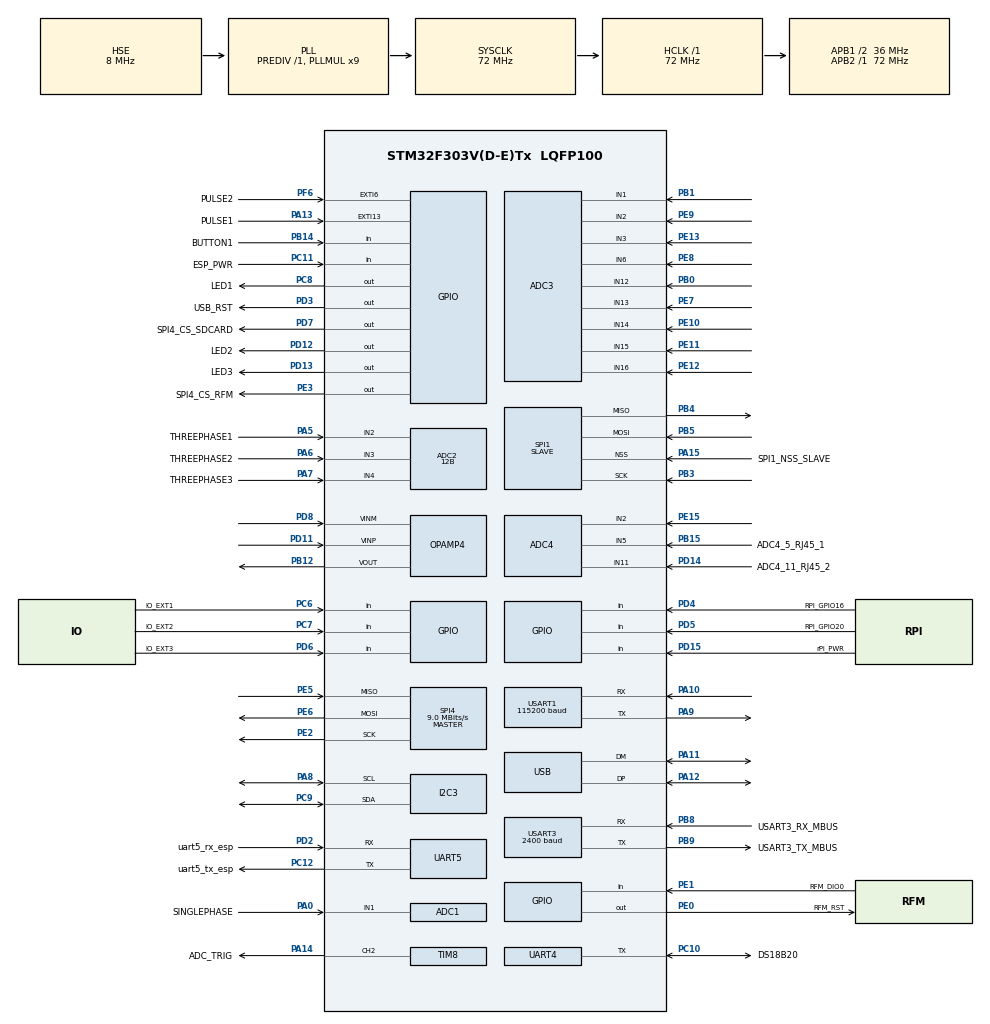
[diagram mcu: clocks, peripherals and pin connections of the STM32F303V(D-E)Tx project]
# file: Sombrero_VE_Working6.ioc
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ADC1.Channel-0\#ChannelRegularConversion=ADC_CHANNEL_1
ADC1.ClockPrescaler=ADC_CLOCK_SYNC_PCLK_DIV4
ADC1.ContinuousConvMode=ENABLE
ADC1.DMAContinuousRequests=ENABLE
ADC1.DataAlign=ADC_DATAALIGN_RIGHT
ADC1.DiscontinuousConvMode=DISABLE
ADC1.EOCSelection=ADC_EOC_SEQ_CONV
ADC1.EnableAnalogWatchDog1=false
ADC1.EnableAnalogWatchDog2=false
ADC1.EnableAnalogWatchDog3=false
ADC1.EnableInjectedConversion=DISABLE
ADC1.EnableRegularConversion=ENABLE
ADC1.ExternalTrigConv=ADC_EXTERNALTRIGCONV_T8_TRGO2
ADC1.ExternalTrigConvEdge=ADC_EXTERNALTRIGCONVEDGE_FALLING
ADC1.LowPowerAutoWait=DISABLE
ADC1.NbrOfConversion=1
ADC1.NbrOfConversionFlag=1
ADC1.Offset-0\#ChannelRegularConversion=0
ADC1.OffsetNumber-0\#ChannelRegularConversion=ADC_OFFSET_NONE
ADC1.Overrun=ADC_OVR_DATA_OVERWRITTEN
ADC1.Rank-0\#ChannelRegularConversion=1
ADC1.Resolution=ADC_RESOLUTION_12B
ADC1.SamplingTime-0\#ChannelRegularConversion=ADC_SAMPLETIME_181CYCLES_5
ADC1.ScanConvMode=ADC_SCAN_DISABLE
ADC1.master=1
ADC2.Channel-0\#ChannelRegularConversion=ADC_CHANNEL_2
ADC2.Channel-1\#ChannelRegularConversion=ADC_CHANNEL_3
ADC2.Channel-2\#ChannelRegularConversion=ADC_CHANNEL_4
ADC2.ClockPrescaler=ADC_CLOCK_SYNC_PCLK_DIV4
ADC2.ContinuousConvMode=ENABLE
ADC2.DMAContinuousRequests=ENABLE
ADC2.DataAlign=ADC_DATAALIGN_RIGHT
ADC2.DiscontinuousConvMode=DISABLE
ADC2.EOCSelection=ADC_EOC_SEQ_CONV
ADC2.EnableAnalogWatchDog1=false
ADC2.EnableAnalogWatchDog2=false
ADC2.EnableAnalogWatchDog3=false
ADC2.EnableInjectedConversion=ENABLE
ADC2.EnableRegularConversion=ENABLE
ADC2.ExternalTrigConv=ADC_EXTERNALTRIGCONV_T8_TRGO2
ADC2.ExternalTrigConvEdge=ADC_EXTERNALTRIGCONVEDGE_FALLING
ADC2.InjNumberOfConversion=0
ADC2.LowPowerAutoWait=DISABLE
ADC2.NbrOfConversion=3
ADC2.NbrOfConversionFlag=1
ADC2.Offset-0\#ChannelRegularConversion=0
ADC2.Offset-1\#ChannelRegularConversion=0
ADC2.Offset-2\#ChannelRegularConversion=0
ADC2.OffsetNumber-0\#ChannelRegularConversion=ADC_OFFSET_NONE
ADC2.OffsetNumber-1\#ChannelRegularConversion=ADC_OFFSET_NONE
ADC2.OffsetNumber-2\#ChannelRegularConversion=ADC_OFFSET_NONE
ADC2.Overrun=ADC_OVR_DATA_OVERWRITTEN
ADC2.Rank-0\#ChannelRegularConversion=1
ADC2.Rank-1\#ChannelRegularConversion=2
ADC2.Rank-2\#ChannelRegularConversion=3
ADC2.Resolution=ADC_RESOLUTION_12B
ADC2.SamplingTime-0\#ChannelRegularConversion=ADC_SAMPLETIME_181CYCLES_5
ADC2.SamplingTime-1\#ChannelRegularConversion=ADC_SAMPLETIME_181CYCLES_5
ADC2.SamplingTime-2\#ChannelRegularConversion=ADC_SAMPLETIME_181CYCLES_5
ADC2.ScanConvMode=ADC_SCAN_ENABLE
ADC3.Channel-0\#ChannelRegularConversion=ADC_CHANNEL_12
ADC3.Channel-1\#ChannelRegularConversion=ADC_CHANNEL_1
ADC3.Channel-2\#ChannelRegularConversion=ADC_CHANNEL_13
ADC3.Channel-3\#ChannelRegularConversion=ADC_CHANNEL_6
ADC3.Channel-4\#ChannelRegularConversion=ADC_CHANNEL_2
ADC3.Channel-5\#ChannelRegularConversion=ADC_CHANNEL_14
ADC3.Channel-6\#ChannelRegularConversion=ADC_CHANNEL_15
ADC3.Channel-7\#ChannelRegularConversion=ADC_CHANNEL_16
ADC3.Channel-8\#ChannelRegularConversion=ADC_CHANNEL_3
ADC3.ClockPrescaler=ADC_CLOCK_SYNC_PCLK_DIV4
ADC3.ContinuousConvMode=ENABLE
ADC3.DMAContinuousRequests=ENABLE
ADC3.EOCSelection=ADC_EOC_SEQ_CONV
ADC3.EnableInjectedConversion=DISABLE
ADC3.ExternalTrigConv=ADC_EXTERNALTRIGCONV_T8_TRGO2
ADC3.NbrOfConversion=9
ADC3.NbrOfConversionFlag=1
ADC3.Offset-0\#ChannelRegularConversion=0
ADC3.Offset-1\#ChannelRegularConversion=0
ADC3.Offset-2\#ChannelRegularConversion=0
ADC3.Offset-3\#ChannelRegularConversion=0
ADC3.Offset-4\#ChannelRegularConversion=0
ADC3.Offset-5\#ChannelRegularConversion=0
ADC3.Offset-6\#ChannelRegularConversion=0
ADC3.Offset-7\#ChannelRegularConversion=0
ADC3.Offset-8\#ChannelRegularConversion=0
ADC3.OffsetNumber-0\#ChannelRegularConversion=ADC_OFFSET_NONE
ADC3.OffsetNumber-1\#ChannelRegularConversion=ADC_OFFSET_NONE
ADC3.OffsetNumber-2\#ChannelRegularConversion=ADC_OFFSET_NONE
ADC3.OffsetNumber-3\#ChannelRegularConversion=ADC_OFFSET_NONE
ADC3.OffsetNumber-4\#ChannelRegularConversion=ADC_OFFSET_NONE
ADC3.OffsetNumber-5\#ChannelRegularConversion=ADC_OFFSET_NONE
ADC3.OffsetNumber-6\#ChannelRegularConversion=ADC_OFFSET_NONE
ADC3.OffsetNumber-7\#ChannelRegularConversion=ADC_OFFSET_NONE
ADC3.OffsetNumber-8\#ChannelRegularConversion=ADC_OFFSET_NONE
ADC3.Rank-0\#ChannelRegularConversion=1
ADC3.Rank-1\#ChannelRegularConversion=2
ADC3.Rank-2\#ChannelRegularConversion=3
ADC3.Rank-3\#ChannelRegularConversion=4
ADC3.Rank-4\#ChannelRegularConversion=5
ADC3.Rank-5\#ChannelRegularConversion=6
ADC3.Rank-6\#ChannelRegularConversion=7
ADC3.Rank-7\#ChannelRegularConversion=8
ADC3.Rank-8\#ChannelRegularConversion=9
ADC3.SamplingTime-0\#ChannelRegularConversion=ADC_SAMPLETIME_181CYCLES_5
ADC3.SamplingTime-1\#ChannelRegularConversion=ADC_SAMPLETIME_181CYCLES_5
ADC3.SamplingTime-2\#ChannelRegularConversion=ADC_SAMPLETIME_181CYCLES_5
ADC3.SamplingTime-3\#ChannelRegularConversion=ADC_SAMPLETIME_181CYCLES_5
ADC3.SamplingTime-4\#ChannelRegularConversion=ADC_SAMPLETIME_181CYCLES_5
ADC3.SamplingTime-5\#ChannelRegularConversion=ADC_SAMPLETIME_181CYCLES_5
ADC3.SamplingTime-6\#ChannelRegularConversion=ADC_SAMPLETIME_181CYCLES_5
ADC3.SamplingTime-7\#ChannelRegularConversion=ADC_SAMPLETIME_181CYCLES_5
ADC3.SamplingTime-8\#ChannelRegularConversion=ADC_SAMPLETIME_181CYCLES_5
ADC3.master=1
ADC4.Channel-0\#ChannelRegularConversion=ADC_CHANNEL_11
ADC4.ClockPrescaler=ADC_CLOCK_SYNC_PCLK_DIV4
ADC4.NbrOfConversionFlag=1
ADC4.Offset-0\#ChannelRegularConversion=0
ADC4.OffsetNumber-0\#ChannelRegularConversion=ADC_OFFSET_NONE
ADC4.Rank-0\#ChannelRegularConversion=1
ADC4.SamplingTime-0\#ChannelRegularConversion=ADC_SAMPLETIME_4CYCLES_5
Dma.ADC1.3.Direction=DMA_PERIPH_TO_MEMORY
Dma.ADC1.3.Instance=DMA1_Channel1
Dma.ADC1.3.MemDataAlignment=DMA_MDATAALIGN_HALFWORD
Dma.ADC1.3.MemInc=DMA_MINC_ENABLE
Dma.ADC1.3.Mode=DMA_CIRCULAR
Dma.ADC1.3.PeriphDataAlignment=DMA_PDATAALIGN_HALFWORD
Dma.ADC1.3.PeriphInc=DMA_PINC_DISABLE
Dma.ADC1.3.Priority=DMA_PRIORITY_HIGH
Dma.ADC2.4.Direction=DMA_PERIPH_TO_MEMORY
Dma.ADC2.4.Instance=DMA2_Channel1
Dma.ADC2.4.MemDataAlignment=DMA_MDATAALIGN_HALFWORD
Dma.ADC2.4.MemInc=DMA_MINC_ENABLE
Dma.ADC2.4.Mode=DMA_CIRCULAR
Dma.ADC2.4.PeriphDataAlignment=DMA_PDATAALIGN_HALFWORD
Dma.ADC2.4.PeriphInc=DMA_PINC_DISABLE
Dma.ADC2.4.Priority=DMA_PRIORITY_HIGH
Dma.ADC3.2.Direction=DMA_PERIPH_TO_MEMORY
Dma.ADC3.2.Instance=DMA2_Channel5
Dma.ADC3.2.MemDataAlignment=DMA_MDATAALIGN_HALFWORD
Dma.ADC3.2.MemInc=DMA_MINC_ENABLE
Dma.ADC3.2.Mode=DMA_CIRCULAR
Dma.ADC3.2.PeriphDataAlignment=DMA_PDATAALIGN_HALFWORD
Dma.ADC3.2.PeriphInc=DMA_PINC_DISABLE
Dma.ADC3.2.Priority=DMA_PRIORITY_HIGH
Dma.Request0=USART1_RX
Dma.Request1=USART3_RX
Dma.Request2=ADC3
Dma.Request3=ADC1
Dma.Request4=ADC2
Dma.USART1_RX.0.Direction=DMA_PERIPH_TO_MEMORY
Dma.USART1_RX.0.Instance=DMA1_Channel5
Dma.USART1_RX.0.MemDataAlignment=DMA_MDATAALIGN_BYTE
Dma.USART1_RX.0.MemInc=DMA_MINC_ENABLE
Dma.USART1_RX.0.Mode=DMA_NORMAL
Dma.USART1_RX.0.PeriphDataAlignment=DMA_PDATAALIGN_BYTE
Dma.USART1_RX.0.PeriphInc=DMA_PINC_DISABLE
Dma.USART1_RX.0.Priority=DMA_PRIORITY_LOW
Dma.USART3_RX.1.Direction=DMA_PERIPH_TO_MEMORY
Dma.USART3_RX.1.Instance=DMA1_Channel3
Dma.USART3_RX.1.MemDataAlignment=DMA_MDATAALIGN_BYTE
Dma.USART3_RX.1.MemInc=DMA_MINC_ENABLE
Dma.USART3_RX.1.Mode=DMA_NORMAL
Dma.USART3_RX.1.PeriphDataAlignment=DMA_PDATAALIGN_BYTE
Dma.USART3_RX.1.PeriphInc=DMA_PINC_DISABLE
Dma.USART3_RX.1.Priority=DMA_PRIORITY_LOW
I2C3.Timing=0x10808DD3
Mcu.Family=STM32F3
Mcu.Name=STM32F303V(D-E)Tx
Mcu.Package=LQFP100
NVIC.ADC1_2_IRQn=true\:0\:0\:false\:false\:true\:true
NVIC.ADC3_IRQn=true\:0\:0\:false\:false\:true\:true
NVIC.DMA1_Channel1_IRQn=true\:0\:0\:false\:false\:true\:false
NVIC.DMA1_Channel3_IRQn=true\:0\:0\:false\:false\:true\:false
NVIC.DMA1_Channel5_IRQn=true\:0\:0\:false\:false\:true\:false
NVIC.DMA2_Channel1_IRQn=true\:0\:0\:false\:false\:true\:false
NVIC.DMA2_Channel5_IRQn=true\:0\:0\:false\:false\:true\:false
NVIC.EXTI15_10_IRQn=true\:0\:0\:false\:false\:true\:true
NVIC.EXTI9_5_IRQn=true\:0\:0\:false\:false\:true\:true
NVIC.PriorityGroup=NVIC_PRIORITYGROUP_4
NVIC.TIM1_UP_TIM16_IRQn=true\:0\:0\:false\:false\:true\:true
NVIC.USART1_IRQn=true\:0\:0\:false\:false\:true\:true
NVIC.USART3_IRQn=true\:0\:0\:false\:false\:true\:true
OPAMP4.SelfCalibration=Enable
OPAMP4.UserTrimming=OPAMP_TRIMMING_USER
PA0.GPIO_Label=SINGLEPHASE
PA0.Mode=IN1-Single-Ended
PA0.Signal=ADC1_IN1
PA10.GPIO_PuPd=GPIO_PULLDOWN
PA10.Mode=Asynchronous
PA10.Signal=USART1_RX
PA11.Mode=Device
PA11.Signal=USB_DM
PA12.Mode=Device
PA12.Signal=USB_DP
PA13.GPIO_Label=PULSE1
PA13.Signal=GPXTI13
PA14.GPIO_Label=ADC_TRIG
PA14.Signal=S_TIM8_CH2
PA15.GPIO_Label=SPI1_NSS_SLAVE
PA15.GPIO_PuPd=GPIO_PULLDOWN
PA15.Mode=NSS_Signal_Hard_Input
PA15.Signal=SPI1_NSS
PA5.GPIO_Label=THREEPHASE1
PA5.Mode=IN2-Single-Ended
PA5.Signal=ADC2_IN2
PA6.GPIO_Label=THREEPHASE2
PA6.Mode=IN3-Single-Ended
PA6.Signal=ADC2_IN3
PA7.GPIO_Label=THREEPHASE3
PA7.Mode=IN4-Single-Ended
PA7.Signal=ADC2_IN4
PA8.Mode=I2C
PA8.Signal=I2C3_SCL
PA9.GPIO_PuPd=GPIO_PULLDOWN
PA9.Mode=Asynchronous
PA9.Signal=USART1_TX
PB0.Mode=IN12-Single-Ended
PB0.Signal=ADC3_IN12
PB1.Mode=IN1-Single-Ended
PB1.Signal=ADC3_IN1
PB12.Mode=Standalone
PB12.Signal=OPAMP4_VOUT
PB14.GPIO_Label=BUTTON1
PB14.GPIO_PuPd=GPIO_PULLDOWN
PB14.Signal=GPIO_Input
PB15.GPIO_Label=ADC4_5_RJ45_1
PB15.Mode=IN5-Single-Ended
PB15.Signal=ADC4_IN5
PB3.GPIO_PuPd=GPIO_PULLDOWN
PB3.Mode=Full_Duplex_Slave
PB3.Signal=SPI1_SCK
PB4.GPIO_PuPd=GPIO_PULLDOWN
PB4.Mode=Full_Duplex_Slave
PB4.Signal=SPI1_MISO
PB5.GPIO_PuPd=GPIO_PULLDOWN
PB5.Mode=Full_Duplex_Slave
PB5.Signal=SPI1_MOSI
PB8.GPIO_Label=USART3_RX_MBUS
PB8.GPIO_PuPd=GPIO_PULLDOWN
PB8.Mode=Asynchronous
PB8.Signal=USART3_RX
PB9.GPIO_Label=USART3_TX_MBUS
PB9.GPIO_PuPd=GPIO_PULLDOWN
PB9.Mode=Asynchronous
PB9.Signal=USART3_TX
PC10.GPIO_Label=DS18B20
PC10.Mode=Half_duplex(single_wire_mode)
PC10.Signal=UART4_TX
PC11.GPIO_Label=ESP_PWR
PC11.GPIO_PuPd=GPIO_PULLDOWN
PC11.Signal=GPIO_Input
PC12.GPIO_Label=uart5_tx_esp
PC12.Mode=Asynchronous
PC12.Signal=UART5_TX
PC14-OSC32_IN.Mode=LSE-External-Oscillator
PC14-OSC32_IN.Signal=RCC_OSC32_IN
PC15-OSC32_OUT.Mode=LSE-External-Oscillator
PC15-OSC32_OUT.Signal=RCC_OSC32_OUT
PC6.GPIO_Label=IO_EXT1
PC6.GPIO_PuPd=GPIO_PULLDOWN
PC6.Signal=GPIO_Input
PC7.GPIO_Label=IO_EXT2
PC7.GPIO_PuPd=GPIO_PULLDOWN
PC7.Signal=GPIO_Input
PC8.GPIO_Label=LED1
PC8.Signal=GPIO_Output
PC9.Mode=I2C
PC9.Signal=I2C3_SDA
PD11.Mode=Standalone
PD11.Signal=OPAMP4_VINP
PD12.GPIO_Label=LED2
PD12.Signal=GPIO_Output
PD13.GPIO_Label=LED3
PD13.Signal=GPIO_Output
PD14.GPIO_Label=ADC4_11_RJ45_2
PD14.Signal=ADCx_IN11
PD15.GPIO_Label=rPi_PWR
PD15.GPIO_PuPd=GPIO_PULLDOWN
PD15.Signal=GPIO_Input
PD2.GPIO_Label=uart5_rx_esp
PD2.Mode=Asynchronous
PD2.Signal=UART5_RX
PD3.GPIO_Label=USB_RST
PD3.PinState=GPIO_PIN_SET
PD3.Signal=GPIO_Output
PD4.GPIO_Label=RPI_GPIO16
PD4.Signal=GPIO_Input
PD5.GPIO_Label=RPI_GPIO20
PD5.Signal=GPIO_Input
PD6.GPIO_Label=IO_EXT3
PD6.GPIO_PuPd=GPIO_PULLDOWN
PD6.Signal=GPIO_Input
PD7.GPIO_Label=SPI4_CS_SDCARD
PD7.Signal=GPIO_Output
PD8.Mode=Standalone
PD8.Signal=OPAMP4_VINM
PE0.GPIO_Label=RFM_RST
PE0.GPIO_PuPd=GPIO_PULLDOWN
PE0.Signal=GPIO_Output
PE1.GPIO_Label=RFM_DIO0
PE1.GPIO_PuPd=GPIO_PULLDOWN
PE1.Signal=GPIO_Input
PE10.Mode=IN14-Single-Ended
PE10.Signal=ADC3_IN14
PE11.Mode=IN15-Single-Ended
PE11.Signal=ADC3_IN15
PE12.Mode=IN16-Single-Ended
PE12.Signal=ADC3_IN16
PE13.Mode=IN3-Single-Ended
PE13.Signal=ADC3_IN3
PE15.Mode=IN2-Single-Ended
PE15.Signal=ADC4_IN2
PE2.GPIO_PuPd=GPIO_PULLDOWN
PE2.Mode=Full_Duplex_Master
PE2.Signal=SPI4_SCK
PE3.GPIO_Label=SPI4_CS_RFM
PE3.Signal=GPIO_Output
PE5.GPIO_PuPd=GPIO_PULLDOWN
PE5.Mode=Full_Duplex_Master
PE5.Signal=SPI4_MISO
PE6.GPIO_PuPd=GPIO_PULLDOWN
PE6.Mode=Full_Duplex_Master
PE6.Signal=SPI4_MOSI
PE7.Mode=IN13-Single-Ended
PE7.Signal=ADC3_IN13
PE8.Signal=ADCx_IN6P
PE9.Mode=IN2-Single-Ended
PE9.Signal=ADC3_IN2
PF0-OSC_IN.Mode=HSE-External-Oscillator
PF0-OSC_IN.Signal=RCC_OSC_IN
PF1-OSC_OUT.Mode=HSE-External-Oscillator
PF1-OSC_OUT.Signal=RCC_OSC_OUT
PF6.GPIO_Label=PULSE2
PF6.Signal=GPXTI6
ProjectManager.HeapSize=0x200
ProjectManager.StackSize=0x400
ProjectManager.TargetToolchain=Makefile
RCC.AHBFreq_Value=72000000
RCC.APB1CLKDivider=RCC_HCLK_DIV2
RCC.APB1Freq_Value=36000000
RCC.APB1TimFreq_Value=72000000
RCC.APB2Freq_Value=72000000
RCC.APB2TimFreq_Value=72000000
RCC.CortexFreq_Value=72000000
RCC.HCLKFreq_Value=72000000
RCC.HSE_VALUE=8000000
RCC.HSI_VALUE=8000000
RCC.I2c1ClockSelection=RCC_I2C1CLKSOURCE_SYSCLK
RCC.I2c3ClockSelection=RCC_I2C3CLKSOURCE_SYSCLK
RCC.PLLMUL=RCC_PLL_MUL9
RCC.PRESCALERUSB=RCC_USBCLKSOURCE_PLL_DIV1_5
RCC.RTCClockSelection=RCC_RTCCLKSOURCE_LSE
RCC.SYSCLKFreq_VALUE=72000000
RCC.SYSCLKSourceVirtual=RCC_SYSCLKSOURCE_PLLCLK
RCC.USBFreq_Value=48000000
RCC.Uart4ClockSelection=RCC_UART4CLKSOURCE_SYSCLK
RCC.Uart5ClockSelection=RCC_UART5CLKSOURCE_SYSCLK
RCC.Usart1ClockSelection=RCC_USART1CLKSOURCE_SYSCLK
RCC.Usart2ClockSelection=RCC_USART2CLKSOURCE_SYSCLK
RCC.Usart3ClockSelection=RCC_USART3CLKSOURCE_SYSCLK
RTC.SynchPrediv=311
SH.ADCx_IN11.0=ADC3_IN11
SH.ADCx_IN11.1=ADC4_IN11,IN11-Single-Ended
SH.ADCx_IN6P.0=ADC3_IN6,IN6-Single-Ended
SH.S_TIM8_CH2.0=TIM8_CH2,PWM Generation2 CH2
SPI1.DataSize=SPI_DATASIZE_8BIT
SPI1.Direction=SPI_DIRECTION_2LINES
SPI1.Mode=SPI_MODE_SLAVE
SPI1.VirtualNSS=VM_NSSHARD
SPI1.VirtualType=VM_SLAVE
SPI4.BaudRatePrescaler=SPI_BAUDRATEPRESCALER_8
SPI4.CalculateBaudRate=9.0 MBits/s
SPI4.DataSize=SPI_DATASIZE_8BIT
SPI4.Direction=SPI_DIRECTION_2LINES
SPI4.Mode=SPI_MODE_MASTER
SPI4.NSSPMode=SPI_NSS_PULSE_DISABLE
SPI4.VirtualType=VM_MASTER
TIM16.AutoReloadPreload=TIM_AUTORELOAD_PRELOAD_DISABLE
TIM16.Period=9999
TIM16.Prescaler=710
TIM8.AutoReloadPreload=TIM_AUTORELOAD_PRELOAD_DISABLE
TIM8.Channel-PWM\ Generation2\ CH2=TIM_CHANNEL_2
TIM8.Period=9999
TIM8.Prescaler=71
TIM8.TIM_MasterOutputTrigger2=TIM_TRGO2_OC2REF
USART1.BaudRate=115200
USART1.DMADisableonRxErrorParam=ADVFEATURE_DMA_DISABLEONRXERROR
USART1.VirtualMode-Asynchronous=VM_ASYNC
USART3.BaudRate=2400
USART3.Parity=PARITY_EVEN
USART3.VirtualMode-Asynchronous=VM_ASYNC
USART3.WordLength=WORDLENGTH_9B
VP_RTC_VS_RTC_Activate.Mode=RTC_Enabled
VP_RTC_VS_RTC_Calendar.Mode=RTC_Calendar
VP_TIM16_VS_ClockSourceINT.Mode=Enable_Timer
VP_TIM16_VS_OPM.Mode=OPM_bit
board=custom

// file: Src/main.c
/**
  ******************************************************************************
  * @file           : main.c
  * @brief          : Main program body
  ******************************************************************************
  ** This notice applies to any and all portions of this file
  * that are not between comment pairs USER CODE BEGIN and
  * USER CODE END. Other portions of this file, whether
  * inserted by the user or by software development tools
  * are owned by their respective copyright owners.
  *
  * COPYRIGHT(c) 2020 STMicroelectronics
  *
  * Redistribution and use in source and binary forms, with or without modification,
  * are permitted provided that the following conditions are met:
  *   1. Redistributions of source code must retain the above copyright notice,
  *      this list of conditions and the following disclaimer.
  *   2. Redistributions in binary form must reproduce the above copyright notice,
  *      this list of conditions and the following disclaimer in the documentation
  *      and/or other materials provided with the distribution.
  *   3. Neither the name of STMicroelectronics nor the names of its contributors
  *      may be used to endorse or promote products derived from this software
  *      without specific prior written permission.
  *
  * THIS SOFTWARE IS PROVIDED BY THE COPYRIGHT HOLDERS AND CONTRIBUTORS "AS IS"
  * AND ANY EXPRESS OR IMPLIED WARRANTIES, INCLUDING, BUT NOT LIMITED TO, THE
  * IMPLIED WARRANTIES OF MERCHANTABILITY AND FITNESS FOR A PARTICULAR PURPOSE ARE
  * DISCLAIMED. IN NO EVENT SHALL THE COPYRIGHT HOLDER OR CONTRIBUTORS BE LIABLE
  * FOR ANY DIRECT, INDIRECT, INCIDENTAL, SPECIAL, EXEMPLARY, OR CONSEQUENTIAL
  * DAMAGES (INCLUDING, BUT NOT LIMITED TO, PROCUREMENT OF SUBSTITUTE GOODS OR
  * SERVICES; LOSS OF USE, DATA, OR PROFITS; OR BUSINESS INTERRUPTION) HOWEVER
  * CAUSED AND ON ANY THEORY OF LIABILITY, WHETHER IN CONTRACT, STRICT LIABILITY,
  * OR TORT (INCLUDING NEGLIGENCE OR OTHERWISE) ARISING IN ANY WAY OUT OF THE USE
  * OF THIS SOFTWARE, EVEN IF ADVISED OF THE POSSIBILITY OF SUCH DAMAGE.
  *
  ******************************************************************************
  */
#include "main.h"
#include "stm32f3xx_hal.h"
#include "adc.h"
#include "dma.h"
#include "i2c.h"
#include "opamp.h"
#include "rtc.h"
#include "spi.h"
#include "tim.h"
#include "usart.h"
#include "usb.h"
#include "gpio.h"

/* USER CODE BEGIN Includes */
#include <time.h>
#include <math.h>
#include <string.h>
#include <stdbool.h>
#include <stdlib.h>
#include "jsmn.h"
#include "reset.h"
#include "json.h"
#include "RFM69.h"
#include "RFM69_ext.h"
//#include "ds18b20.h"
/* USER CODE END Includes */

/* USER CODE BEGIN PV */
/* Private variables ---------------------------------------------------------*/
// test variables
bool testing = false; // for testing
bool dontGiveAMonkeys = false; // don't wait for a VT adaptor to calculate Irms, AP, RP etc.
bool ledBlink = true; // enable or disable LED blinking.

// version information
char hwVersion[] = "1.1";
char fwVersion[] = "0.1";

//-------------
// MODES
//-------------
// 0 = Standalone
// 1 = rPi
// 2 = ESP32
// 3 = testing
int _mode = 0; // init mode
bool rpi_connected = false;

// approximating the BIAS.
#define MID_ADC_READING 2048

//------------------------------------------------
// timing, ADCs, power and frequency variables
//------------------------------------------------
double V_SCALE;
double I_SCALE;
uint32_t readings_interval = 500; // millis to read waveform at.
uint32_t posting_interval = 5000; // millis to post data at.
//const double adc_conversion_time = (614.0*(1.0/(72000000.0/4))); // time in seconds for an ADC conversion, for estimating mains AC frequency.
const double adc_conversion_time = (194.0*(1.0/(72000000.0/4))); // time in seconds for an ADC conversion, for estimating mains AC frequency.
//const double adc_conversion_time = (74.0*(1.0/(72000000.0/4))); // seems to be the fastest we can sample.
//const double adc_conversion_time = (32.0*(1.0/(72000000.0/4))); // this speed causes buffer overruns.
double mains_frequency; // as it says.
double Ws_accumulator[CTn] = {0}; // energy accumulator per CT channel.

//------------------------------------------------
// misc. flags
//------------------------------------------------
bool readings_ready = false;
bool readings_requested = false;
bool first_readings = false;
bool no_volts_flag = false;

//----------------------------
// CT Settings : Common
//----------------------------

//----------------------------
// CT Settings : Per Channel
//----------------------------

//----------------------------
// VT Settings : Common
//----------------------------

//------------------------
// Channel Accumulators
//------------------------
typedef struct channel_
{
  int64_t sum_P;
  uint64_t sum_V_sq;
  uint64_t sum_I_sq;
  int64_t sum_V;
  int64_t sum_I;
  bool Iclipped;
  uint32_t samplecount;
  uint32_t cycles;
  bool positive_V;
  bool last_positive_V;
} channel_t; // data struct per CT channel, stm32 only does 32-bit struct items, anything else gets padded out to 32-bit automatically by

static channel_t channels[CTn] = {0};
static channel_t channels_ready[CTn] = {0};
bool channel_rdy_bools[CTn] = {0};

//------------------------
// Channel Results
//------------------------
typedef struct channel_results_
{
  double Vrms;
  double Irms;
  double ApparentPower;
  double RealPower;
  double PowerFactor;
  bool Clipped;
  int Mains_AC_Cycles; // counting complete waveforms
  long SampleCount;
  int Count;
} channel_results_t;

channel_results_t channel_results[CTn] = {0}; //  init the channel results.

//--------------------------------
// VOLTAGE CALIBRATION
//--------------------------------
const double VOLTS_PER_DIV = (2.048 / 4096.0);
//const double VCAL = 268.97; // default ideal power UK
// const double VCAL = 493.502184547; // measured by DB for testing.
const double VCAL = 287.882;
//--------------------------------
// AMPERAGE CALIBRATION
//--------------------------------
// const double ICAL = (100/0.05)/22.0; // (CT rated input / rated output) / burden value.
// const double ICAL = (100/0.05)/11.0; // (CT rated input / rated output) / burden value.
const double ICAL = (100/0.05)/6.8; // (CT rated input / rated output) / burden value.
// const double ICAL = (100/0.05)/(26.8); // dan's stm32 consistency check board at 0.2% accuracy burden (53R6 x 2 in parallel).
// const double ICAL = (100/0.05)/50.6; // dan's custom test board.
// const double ICAL = (100/0.05)/456.3; // dan's custom test board.
// const double ICAL = (100/0.05)/1.0; // dan's custom test board.
// const double ICAL = (100/0.05)/(22.0/1000.0);
// const double ICAL = (100.0/0.05)*11.0; // V=I*R. Convert to raw mV signal for testing.
// const double ICAL = 88.8832;
// const double ICAL = (100/0.05)/150.0; // dan's custom test board.
// const double ICAL = 25.0/0.333; // 25Amp voltage output CT (Current rating divided by output voltage)
// const double ICAL = 200.0/0.333; // 200Amp voltage output CT (Current rating divided by output voltage)

//--------------------------
// PHASE CALIBRATION
//--------------------------
// Finite Impulse Response (FIR) filter-like Power Factor correction.
// This phase correction can be applied to individual CTs.
// This phase-correction works by selecting the relevant sample from the ADC DMA buffer.
// For example ADC1 has buffer 1, ADC2 has buffer 2. The VT is on buffer 1, the CT is on buffer 2.
// We can choose to pair the relevant sample from buffers one and two, to adjust for time differences (phase shift).
// Each sample is separated at a single conversion time, 10.7usecs, for example, or tripple that for 3-phase.
int hunt_PF[CTn] = {0}; // this is a per-channel state trigger. The array index is the CT channel.
// when above array value {0} equals:
// 0 = no power factor hunting, default at program start.
// 1 = power factor hunt start. This can be triggered from a serial command.
// 2 = power factor hunt to the right. (increase VT lead, automatic).
// 3 = power factor hunt to the left. (increase VT lag, automatic).
// 4 = hunt finishing, finding mode average (automatic).
// 5 = hunt complete.

// This stores the value of buffer indexes to shift by, for each channel.
int phase_corrections[CTn] = {0};   // store of phase corrections per channel.

// Below are misc variables to make PF hunting work.
uint8_t phHunt_direction_changes = 0; // we're aiming for phase_correction_iteration_target.
const int phHunt_direction_change_target = 5; // how many times will the phase hunt change direction?
double last_powerFactor[CTn]; // PF from previous readings.
double powerFactor_now[CTn];  // PF from most recent readings.
uint16_t highest_phase_correction = 0;

//------------------------
// UART SERIAL BUFFERS
//------------------------

char rx_string[COMMAND_BUFFER_SIZE];
char string_buffer[200];
//char log_buffer[1000];

//----------------
// RADIO
//----------------
bool radioSender = false; // set 'true' to send test data with RFM69.
bool radioReceiver = false; // set 'true' to enable rfm69cw receiving.
static uint16_t networkID = 210; // a.k.a. Network Group
static uint8_t nodeID = 10; // this node's ID (address).
static uint16_t freqBand = 433; // MHz
static uint8_t toAddress = 1; // destination address.
bool requestACK = false; // untested.
static char encryptkey[20] = {'\0'}; // twenty character encrypt key, or  '\0'  for nothing.
//char encryptkey[20] = "asdfasdfasdfasdf"; // twenty character encrypt key, or  '\0'  for nothing.
typedef struct {
  uint32_t nodeId;
  uint32_t uptime;
  //double temperature;   // other data
} Payload;
Payload radioData;

//--------------------
// Time variables
//--------------------
uint32_t current_millis;
uint32_t previous_millis_fine;
uint32_t previous_millis_course;

//----------------
// MISC
//----------------
static uint32_t pulseCount1 = 0;
static uint32_t pulseCount2 = 0;
extern char json_response[40];
extern int boot_number;
bool debugFlag_pulse1 = false;
bool debugFlag_pulse2 = false;
bool debugFlag_Button1 = false;

/* USER CODE END PV */

void SystemClock_Config(void);

/* USER CODE BEGIN PFP */
/* Private function prototypes -----------------------------------------------*/

//------------------------------------------
// FIR-like filter for phase correction.
//------------------------------------------
void set_highest_phase_correction(void) { // could be done after each correction routine.
  highest_phase_correction = 0; // reset.
  for (int i = 0; i < CTn; i++) {
    if (phase_corrections[i] > highest_phase_correction) highest_phase_correction = phase_corrections[i];
  }
}

//-----------------------------------------------
// Check the DMA buffer for a 'future' sample.
//-----------------------------------------------
bool check_dma_index_for_phase_correction(uint16_t offset) {
  // HAL_DELAY(1); // test
  uint16_t dma_counter_now = hdma_adc1.Instance->CNDTR;
  //sprintf(log_buffer, "dma_counter_now:%d, offset:%d, highest_correction:%d\r\n", dma_counter_now, offset, highest_phase_correction);
  //debug_printf(log_buffer); log_buffer[0] = 0;
  if (offset == 0) {
    if (adc_buff_half_size - dma_counter_now > highest_phase_correction)
    {
      return true;
    }
    else
    {
      return false;
    }
  }
  else if (offset == adc_buff_half_size) {
    if (adc_buff_size - dma_counter_now > highest_phase_correction)
    {
      return true;
    }
    else
    {
      return false;
    }
  }
  return false;
}

//--------------------------------------------------------
// Mathematical function to find the mode of an array
//--------------------------------------------------------
bool modeSearchFailed;

int findmode(int a[],int n) { // https://www.tutorialspoint.com/learn_c_by_examples/mode_program_in_c.htm
   modeSearchFailed = false;
   int maxValue = 0, maxCount = 0, i, j;
   for (i = 0; i < n; ++i) {
      int count = 0;
      for (j = 0; j < n; ++j) {
         if (a[j] == a[i])
         ++count;
      }
      if (count > maxCount) {
         maxCount = count;
         maxValue = a[i];
      }
   }
   if (maxCount < 3) {debug_printf("No confident value found.\r\n"); modeSearchFailed = true; }
   return maxValue;
}

//----------------------------------------------------------------------------------------------------------------
// This is a phase correction per CT channel method based on the DMA buffer index selection (CT vs VT DMA buffer).
//----------------------------------------------------------------------------------------------------------------
int pf_mode_array[5]; // stores the phase_corrections value at the point of switching direction.
int *pf_ptr = pf_mode_array;
int phase_corrections_store_previous_value;
void pfHunt(int ch) {
  while (!usart_tx_ready); // force wait while usart Tx finishes.
  if (hunt_PF[ch] == 0 || hunt_PF[ch] == 5) {
    return;
  }
  else if (hunt_PF[ch] == 1) { // start hunting one direction
    phase_corrections_store_previous_value = phase_corrections[ch];
    phase_corrections[ch]++; hunt_PF[ch]++;
    // print phase correction.
    sprintf(log_buffer, "PFstart++ \r\nSetting phase_corrections[%d] to %d\r\n", ch, phase_corrections[ch]);
    //debug_printf(log_buffer);
  }
  else if (hunt_PF[ch] == 2) { // continue this direction unless...
    sprintf(log_buffer, "PF_now:%.6lf | last_PF:%.6lf | phase_corrections[] for CT%d was at %d, equal to %.2lf degrees phase shift.\r\n",
     powerFactor_now[ch], last_powerFactor[ch], ch+1, phase_corrections[ch], (360.0*((adc_conversion_time*phase_corrections[ch])/(1/mains_frequency))));
    debug_printf(log_buffer);
    if (powerFactor_now[ch] > last_powerFactor[ch]) phase_corrections[ch]++; // keep going forwards into the buffer
    else { hunt_PF[ch]++; phHunt_direction_changes++; phase_corrections[ch]--; *pf_ptr = phase_corrections[ch]; pf_ptr++; } // switch direction and start going backwards into the buffer
    // print phase correction.
    sprintf(log_buffer, "PF++ | Setting phase_corrections[] for CT%d to %d. Switched direction %d times.\r\n", ch+1, phase_corrections[ch], phHunt_direction_changes);
    //debug_printf(log_buffer);
    if (phHunt_direction_changes == phHunt_direction_change_target) hunt_PF[ch] = 4;
  }
  else if (hunt_PF[ch] == 3) { // hunt the other direction until...
    sprintf(log_buffer, "PF_now:%.6lf | last_PF:%.6lf | phase_corrections[%d] was at %d, equal to %.2lf degrees phase shift.\r\n", powerFactor_now[ch], last_powerFactor[ch], ch, phase_corrections[ch], (360.0*((adc_conversion_time*phase_corrections[ch])/(1/mains_frequency)))); debug_printf(log_buffer);
    if (powerFactor_now[ch] > last_powerFactor[ch]) phase_corrections[ch]--; // keep going backwards into the buffer
    else { hunt_PF[ch]--; phHunt_direction_changes++; phase_corrections[ch]++; *pf_ptr = phase_corrections[ch]; pf_ptr++; } // switch direction and go forwards again into the buffer
    // print phase correction.
    sprintf(log_buffer, "PF-- | Setting phase_corrections[] for CT%d to %d. Switched direction %d times.\r\n", ch+1, phase_corrections[ch], phHunt_direction_changes);
    //debug_printf(log_buffer);
    if (phHunt_direction_changes == phHunt_direction_change_target) hunt_PF[ch] = 4;
  }
  else if (hunt_PF[ch] == 4) {
    // finish up...
    for (int i = 0; i < phHunt_direction_change_target; i++) { sprintf(log_buffer, "pf_mode_array[%d] value was %d\r\n", i, pf_mode_array[i]); debug_printf(log_buffer); }

    sprintf(log_buffer, "mode:%d\r\n", findmode(pf_mode_array, phHunt_direction_change_target));
    debug_printf(log_buffer);

    phase_corrections[ch] = findmode(pf_mode_array, phHunt_direction_change_target); // the result is set in phase_corrections[] for this channel now.
    if (modeSearchFailed) {
      sprintf(log_buffer, "huntPF FAILED – phase_corrections[] for CT%d set to original value %d.\r\n", ch+1, phase_corrections_store_previous_value);
      phase_corrections[ch] = phase_corrections_store_previous_value;
    }
    else {
      sprintf(log_buffer, "Maximum PF found! phase_correction[%d] is at %d, equal to %.2lf degrees phase shift.\r\n", ch, phase_corrections[ch], (360.0*((adc_conversion_time*phase_corrections[ch])/(1/mains_frequency))));
      set_highest_phase_correction(); // update the highest value for 'value ready?' buffer checking.
    }
    phHunt_direction_changes = 0;
    *pf_ptr = 0;
    hunt_PF[ch] = 5;
  }
}

/* USER CODE END PFP */

/* USER CODE BEGIN 0 */

//------------------------------------------
// Calculate Power Data for one Channel
//------------------------------------------
double Vrms;
double Irms;
double realPower;
double apparentPower;
double powerFactor;

void calcPower (int ch)
{
  channel_t *chn = &channels_ready[ch];

  double Vmean = (double)chn->sum_V / (double)chn->samplecount;
  double Imean = (double)chn->sum_I / (double)chn->samplecount;

  double f32sum_V_sq_avg = (double)chn->sum_V_sq / (double)chn->samplecount;
  f32sum_V_sq_avg -= (Vmean * Vmean); // offset removal

  double f32sum_I_sq_avg = (double)chn->sum_I_sq / (double)chn->samplecount;
  f32sum_I_sq_avg -= (Imean * Imean); // offset removal

  // assuming result of offset removal always positive.
  // small chance a negative result would cause a nan at sqrt.

  Vrms = V_SCALE * sqrt(f32sum_V_sq_avg);
  Irms = I_SCALE * sqrt(f32sum_I_sq_avg);

  double f32_sum_P_avg = (double)chn->sum_P / (double)chn->samplecount;
  double mean_P = f32_sum_P_avg - (Vmean * Imean); // offset removal

  realPower = V_SCALE * I_SCALE * mean_P;
  apparentPower = Vrms * Irms;

  // calculate PF, is it necessary to prevent dividing by zero error?
  if (apparentPower != 0) { powerFactor = realPower / apparentPower; }
  else powerFactor = 0;

  // if (realPower < 1.0) {
  //   realPower = 0.0;
  // }

  Ws_accumulator[ch] += (realPower * (readings_interval / 1000.0));
}

//------------------------------------------
// Process Half-Buffer into Accumulators.
//------------------------------------------
void process_frame (uint16_t offset)
{
  /**********
  // debugging
  if (!hia) {
    debug_printf("Hello! First process_frame!\r\n");
    hia = 1;
  }
  **********/
  if(ledBlink){HAL_GPIO_WritePin(LED1_GPIO_Port, LED1_Pin, GPIO_PIN_SET); } // blink the led

  //set_highest_phase_correction(); // could be called after a phase correction routine instead.
  while (!check_dma_index_for_phase_correction(offset));

  int16_t sample_V, sample_I, signed_V, signed_I;

   // to hunt one adc_buffer_index per readings_ready, because it's only in readings_ready where PF is calc'd.
  /*
  sprintf(log_buffer, "adc_buff_half_size:%d\r\n", adc_buff_half_size);
  debug_printf(log_buffer);

  */

  for (uint16_t i = 0; i < adc_buff_half_size; i += CTn) // CTn = CT channel quanity.
  {

    /* // debug buffer
    sprintf(log_buffer, "signed_v:%d\r\n", signed_V);
    debug_printf(log_buffer);

    */

    //----------------------------------------
    // Power
    //----------------------------------------
    // Cycle through channels, accumulating
    for (int ch = 0; ch < CTn; ch++)
    {
      channel_t *channel = &channels[ch];
      //----------------------------------------
      // Voltage
      //----------------------------------------
      // phase correction could happen here to have higher resolution.
      // to shift voltage gives finer grained phase resolution in single-phase mode
      // because the voltage channel is used by all CTs.
      int16_t sample_V_index = offset + i + ch + phase_corrections[ch];
      // check for buffer overflow
      if (sample_V_index >= adc_buff_size) sample_V_index -= adc_buff_size;
      else if (sample_V_index < 0) sample_V_index += adc_buff_size;

      sample_V = adc1_dma_buff[sample_V_index];
      //if (sample_V == 4095) Vclipped = true; // unlikely
      signed_V = sample_V - MID_ADC_READING;
      channel->sum_V += signed_V;
      channel->sum_V_sq += signed_V * signed_V; // for Vrms
      //----------------------------------------
      // Current
      //----------------------------------------
      sample_I = adc3_dma_buff[offset + i + ch];
       // debug the buffer

      // if (ch == 4) {
      //   char valuebuff[10];
      //   while (!usart_tx_ready); // force wait while usart Tx finishes.
      //   sprintf(valuebuff, "%d\r\n", sample_I);
      //   debug_printf(valuebuff);
      // }

      if (sample_I == 4095) channel->Iclipped = true; // much more likely, useful safety information.
      signed_I = sample_I - MID_ADC_READING; // mid-rail removal possible through ADC4, option for future perhaps.
      channel->sum_I += signed_I; //
      channel->sum_I_sq += signed_I * signed_I; // for Irms
      //----------------------------------------
      // Power, instantaneous.
      //----------------------------------------
      channel->sum_P += signed_V * signed_I;

      channel->samplecount++; // number of adc samples.

      //----------------------------------------
      // Upwards-zero-crossing detection, whole AC cycles.
      channel->last_positive_V = channel->positive_V; // retrieve the previous value.
      if (signed_V >= 0) { channel->positive_V = true; } // changed > to >= . not important as MID_ADC_READING 2048 not accurate anyway.
      else { channel->positive_V = false; }
      //--------------------------------------------------
      //--------------------------------------------------
      if (dontGiveAMonkeys || (!channel->last_positive_V && channel->positive_V)) { // looking out for a upwards-zero crossing.
        channel->cycles++; // rather than count cycles for readings_ready, better to have the main loop ask for them.
        // debug cycle count
        /*
        sprintf(log_buffer, "cycles%d:%ld\r\n", ch, channel->cycles);
        debug_printf(log_buffer);
        */
        //----------------------------------------
        if (readings_requested && !channel_rdy_bools[ch]) { // if readings are needed by the main loop and channel is not copied/ready.
          channel_t *channel_ready = &channels_ready[ch];
          // copy accumulators for use in main loop.
          memcpy((void*)channel_ready, (void*)channel, sizeof(channel_t));
          // reset accumulators to zero.
          memset((void*)channel, 0, sizeof(channel_t));
          // follow through the state of positive_v so no extra AC cycle is erroneously counted.
          channel->positive_V = true;
          // set 'channel ready' for this channel.
          channel_rdy_bools[ch] = true;
          // are all the channels ready?
          int chn_ready_count = 0;
          for (int j = 0; j < CTn; j++) {
            if (channel_rdy_bools[j]) chn_ready_count++;
          }
          if (chn_ready_count == CTn) { readings_ready = true; readings_requested = false; }

          // test waveform sync. printed result should go from 1 to 9.
          /*
          sprintf(log_buffer, "channelsRdy:%d\r\n", chn_ready_count);
          debug_printf(log_buffer);
          */
        }
      }
      //--------------------------------------------------
      //-------------------------------------------------- end zero-crossing.
    } // end per channel routine
  } // end buffer routine
  if(ledBlink) { HAL_GPIO_WritePin(LED1_GPIO_Port, LED1_Pin, GPIO_PIN_RESET);}

  // while(1) {
  //   __NOP();
  // }
} // end process_frame().

//------------------------
// EEPROM Emulation
//------------------------
// Credit to Viktor Vano for the Flash read/write code
// https://github.com/viktorvano/STM32F3Discovery_internal_FLASH

#define FLASH_STORAGE 0x08030000 // Maximum value for STM32F303xE is defined at line 111 of stm32f3xx_hal_flash_ex.h (0x0807FFFFU)
#define page_size 0x800

void save_to_flash(uint8_t *data)
{
	volatile uint32_t data_to_FLASH[(strlen((char*)data)/4)	+ (int)((strlen((char*)data) % 4) != 0)];
	memset((uint8_t*)data_to_FLASH, 0, strlen((char*)data_to_FLASH));
	strcpy((char*)data_to_FLASH, (char*)data);

	volatile uint32_t data_length = (strlen((char*)data_to_FLASH) / 4)
									+ (int)((strlen((char*)data_to_FLASH) % 4) != 0);
	volatile uint16_t pages = (strlen((char*)data)/page_size)
									+ (int)((strlen((char*)data)%page_size) != 0);
	  /* Unlock the Flash to enable the flash control register access *************/
	  HAL_FLASH_Unlock();

	  /* Allow Access to option bytes sector */
	  HAL_FLASH_OB_Unlock();

	  /* Fill EraseInit structure*/
	  FLASH_EraseInitTypeDef EraseInitStruct;
	  EraseInitStruct.TypeErase = FLASH_TYPEERASE_PAGES;
	  EraseInitStruct.PageAddress = FLASH_STORAGE;
	  EraseInitStruct.NbPages = pages;
	  uint32_t PageError;

	  volatile uint32_t write_cnt=0, index=0;

	  volatile HAL_StatusTypeDef status;
	  status = HAL_FLASHEx_Erase(&EraseInitStruct, &PageError);
	  while(index < data_length)
	  {
		  if (status == HAL_OK)
		  {
			  status = HAL_FLASH_Program(FLASH_TYPEPROGRAM_WORD, FLASH_STORAGE+write_cnt, data_to_FLASH[index]);
			  if(status == HAL_OK)
			  {
				  write_cnt += 4;
				  index++;
			  }
		  }
	  }

	  HAL_FLASH_OB_Lock();
	  HAL_FLASH_Lock();
}

void read_flash(uint8_t* data)
{
	volatile uint32_t read_data;
	volatile uint32_t read_cnt=0;
	do
	{
		read_data = *(uint32_t*)(FLASH_STORAGE + read_cnt);
		if(read_data != 0xFFFFFFFF)
		{
			data[read_cnt] = (uint8_t)read_data;
			data[read_cnt + 1] = (uint8_t)(read_data >> 8);
			data[read_cnt + 2] = (uint8_t)(read_data >> 16);
			data[read_cnt + 3] = (uint8_t)(read_data >> 24);
			read_cnt += 4;
		}
	} while(read_data != 0xFFFFFFFF);
}

typedef struct {
  int reset_counter;
  //uint32_t uptime;
  //double temperature;   // other data
} FlashStruct;

FlashStruct flash_struct;

/* USER CODE END 0 */

int main(void)
{
  /* USER CODE BEGIN 1 */
  V_SCALE = VCAL * VOLTS_PER_DIV;
  I_SCALE = ICAL * VOLTS_PER_DIV;

  int _readings_interval = readings_interval; // temporarily store the usable posting period.
  readings_interval = 100; // speed up first discarded reading.

  //FlashStruct *flashpt = &flash_struct;
  //union Un flashUn;

  /* USER CODE END 1 */

  /* MCU Configuration----------------------------------------------------------*/

  /* Reset of all peripherals, Initializes the Flash interface and the Systick. */
  HAL_Init();

  /* Configure the system clock */
  SystemClock_Config();

  /* Initialize all configured peripherals */
  MX_GPIO_Init();
  MX_DMA_Init();
  MX_TIM8_Init();
  MX_ADC1_Init();
  MX_USART1_UART_Init();
  MX_TIM16_Init();
  MX_SPI1_Init();
  MX_SPI4_Init();
  MX_UART4_Init();
  MX_USART3_UART_Init();
  MX_I2C3_Init();
  MX_UART5_Init();
  MX_RTC_Init();
  MX_ADC3_Init();
  MX_OPAMP4_Init();
  MX_ADC4_Init();
  MX_USB_PCD_Init();
  MX_ADC2_Init();
  /* USER CODE BEGIN 2 */

  HAL_Delay(1200); // time necessary to catch first serial output on firmware launch after flash.

  //------------------------
  // UART DMA RX ENABLE
  //------------------------
  __HAL_UART_ENABLE_IT(&huart1, UART_IT_IDLE);
  HAL_UART_Receive_DMA(&huart1, rx_buff, sizeof(rx_buff));
  // __HAL_UART_ENABLE_IT(&huart2, UART_IT_IDLE);
  // HAL_UART_Receive_DMA(&huart2, rx_buff, sizeof(rx_buff));
  //------------------------------
  // UART Non-blocking TX ENABLE
  //------------------------------
  // __HAL_UART_ENABLE_IT(&huart1, UART_IT_TC); // necessary only to know if we're good to fire another Tx soon after a HAL_UART_Transmit_IT()
  // __HAL_UART_ENABLE_IT(&huart2, UART_IT_TC);
  // __HAL_UART_ENABLE_IT(&huart1, UART_IT_TXE); // necessary only to know if we're good to fire another Tx soon after a HAL_UART_Transmit_IT()
  // __HAL_UART_ENABLE_IT(&huart2, UART_IT_TXE);
  // usart1_rx_flag = 1; // debugging

  debug_printf("\r\n\r\nStart, connect VT.\r\n");
  // char startLine[] = "\r\n\r\nStart, connect VT.\r\n";
  // HAL_UART_Transmit_IT(&huart2, (uint8_t*)startLine, strlen(startLine));

  //-------------------------------------------------
  // Analog Input RNG for Radio Start Delay
  //-------------------------------------------------
  if (radioSender) {
    int RadDelayCount = 0, RadioDelay = 0;
    while(RadDelayCount < 3) {
      static int reading;
      static int previousRadDelay;
      previousRadDelay = reading;

      // ADC read start
      HAL_ADC_Start(&hadc4);
      while (HAL_ADC_PollForConversion(&hadc4, 1000) != HAL_OK);
      reading = HAL_ADC_GetValue(&hadc4);
      HAL_ADC_Stop(&hadc4);
      // ADC read end.

      RadioDelay = abs((reading - previousRadDelay + 400) * 10); // scale the 'noise'.
      HAL_Delay(100);
      RadDelayCount++;
    }
    while (!usart_tx_ready); // force wait while usart Tx finishes.
    sprintf(log_buffer, "RadioDelay:%d\r\n", RadioDelay);
    debug_printf(log_buffer);
    HAL_Delay(RadioDelay);

  } // end RadioDelay.

  //------------------------
  // RTC Backup Registers
  //------------------------
  // RTC backup register test, 16 x 32-bit addresses available.
  // see stm32f3xx_hal_rtc_ex.c  line 1118 onwards.
  //uint32_t bkp_write = 123456789;
  uint32_t bkp_ = HAL_RTCEx_BKUPRead(&hrtc, RTC_BKP_DR0);
  while (!usart_tx_ready); // force wait while usart Tx finishes.
  sprintf(log_buffer, "Number of boots:%ld\r\n", bkp_);
  debug_printf(log_buffer);
  boot_number = bkp_;
  HAL_RTCEx_BKUPWrite(&hrtc, RTC_BKP_DR0, bkp_+1);
  // works!

  // RESET CAUSE
  reset_cause_store = reset_cause_get();
  while (!usart_tx_ready); // force wait while usart Tx finishes.
  sprintf(log_buffer, "Reset Cause:%s\r\n", reset_cause_get_name(reset_cause_store));
  debug_printf(log_buffer);

  //------------------------
  // EEPROM Emulation test
  //------------------------
  /*
  char write_data_pgm[50];
  strcpy(write_data_pgm, "Hellow from Flash Memory!\r\n");
  save_to_flash((uint8_t*) write_data_pgm);
  char read_data_pgm[50];
  read_flash((uint8_t*)read_data_pgm);
  debug_printf(read_data_pgm); // print result

  float write_float_pgm = 123.321f;
  float *pointer_write_float = &write_float_pgm;
  save_to_flash((uint8_t*)pointer_write_float);
  float read_float_pgm = 0.0;
  float *pointer_read_float = &read_float_pgm;
  read_flash((uint8_t*)pointer_read_float);
  //char log_buffer[20];
  sprintf(log_buffer, "Float value also read from flash memory! %.3f\r\n", read_float_pgm);
  debug_printf(log_buffer); log_buffer[0] = 0; // print result
  */

  // int test_array_mode[5] = {2,1,3,4,5};
  // sprintf(log_buffer, "test mode-finding: %d\r\n", findmode(test_array_mode, 5));
  // debug_printf(log_buffer); log_buffer[0] = 0; // print result
  // seems findmode() will return the first value of the array if no mode value is found.

  //------------------------
  // is the rPi Connected?
  //------------------------
  if (HAL_GPIO_ReadPin(rPi_PWR_GPIO_Port, rPi_PWR_Pin) == 1)
  {
    debug_printf("rPi connected!\r\n");
    _mode = 1; // rpi mode.
    rpi_connected = true;
  }
  else {
    debug_printf("rPi not connected.\r\n");
    // _mode = 0;
  }

  //------------------------
  // RADIO Init
  //------------------------
  RFM69_RST();
  HAL_Delay(20);
  if (RFM69_initialize(freqBand, nodeID, networkID))
  {
    while (!usart_tx_ready); // force wait while usart Tx finishes.
    sprintf(log_buffer, "RFM69 Initialized. Freq %dMHz. Node %d. Group %d.\r\n", freqBand, nodeID, networkID);
    debug_printf(log_buffer);
    //RFM69_readAllRegs(); // debug output
  }
  else {
    debug_printf("RFM69 not connected.\r\n");
    radioSender = false; radioSender = false;
  }

  // if we have a encryption key, radio encryption will be set.
  if (encryptkey[0]) RFM69_encrypt(encryptkey);

  if (!radioReceiver && !radioSender) {
    HAL_SPI_MspDeInit(&hspi4); // disable SPI4 if radio is disabled.
    debug_printf("SPI4 DeInit'd.\r\n");
  }
  //else {
  //RFM69_interruptHandler();
  //RFM69_receiveDone();
  //}

  //------------------------
  // ADC & OPAMP Start
  //------------------------
  HAL_ADCEx_Calibration_Start(&hadc1, ADC_SINGLE_ENDED);
  HAL_ADCEx_Calibration_Start(&hadc3, ADC_SINGLE_ENDED);
  HAL_Delay(2);
  HAL_OPAMP_SelfCalibrate(&hopamp4);
  HAL_OPAMP_Start(&hopamp4);
  HAL_Delay(2);
  start_ADCs(usec_lag);

  //init_ds18b20s(); // temperature sensor

  debug_printf("\r\n");

  // sensible start times..
  current_millis = HAL_GetTick();
  previous_millis_course = current_millis;
  previous_millis_fine = current_millis;

  /* USER CODE END 2 */

  /* Infinite loop */
  /* USER CODE BEGIN WHILE */
  while (1)
  {
    current_millis = HAL_GetTick();

    // process_ds18b20s();

    //------------------------------------------
    // Interval for accumulating power readings.
    //------------------------------------------
    if (current_millis - previous_millis_fine >= readings_interval)
    {
      uint16_t correction = current_millis - previous_millis_fine - readings_interval;
      previous_millis_fine = current_millis - correction;

      if (readings_requested) no_volts_flag = true;

      readings_requested = true;

      // RTC debug
      //RTC_CalendarShow(aShowTime, aShowDate);
      //debug_printf((char*)aShowDate); debug_printf("\r\n");
      //debug_printf((char*)aShowTime); debug_printf("\r\n");
    }

    //------------------------------------------------
    // ADC DMA buffer flags. Process Frames.
    //------------------------------------------------
    if (conv_hfcplt_flag)
    {
      conv_hfcplt_flag = false;
      process_frame(0); // process 1st half of buffer.
    }
    if (conv_cplt_flag)
    {
      conv_cplt_flag = false;
      process_frame(adc_buff_half_size); // process 2nd half of buffer.
    }
    // HAL_Delay(200); // ADC buffer overrun flag test.

    //------------------------------------------------
    // To post primary data.
    //------------------------------------------------
    if (readings_ready)
    {
        readings_ready = false;
        memset(channel_rdy_bools, 0, sizeof(channel_rdy_bools)); // clear flags.

        if (!first_readings) {
          readings_interval = _readings_interval;
          first_readings = true;
          previous_millis_course = current_millis;

          while (!usart_tx_ready); // force wait while usart Tx finishes.
          sprintf(log_buffer, "Start Sampling Millis: %ld\r\n", current_millis); // initital write to buffer.
          debug_printf(log_buffer);

          goto EndJump;
        } // discard the first set as beginning of 1st waveform not tracked.

        while (!usart_tx_ready); // force wait while usart Tx finishes.
        sprintf(log_buffer, "{STM_HW:%s,STM_FW:%s,\r\n", hwVersion, fwVersion); // initital write to buffer.
        if (rpi_connected) sprintf(log_buffer, "STM_HW:%s,STM_FW:%s,", hwVersion, fwVersion); // initital write to buffer.

        // CALCULATE POWER
        for (int ch = 0; ch < CTn; ch++)
        {
          channel_t *chn = &channels_ready[ch];
          channel_results_t *chn_result = &channel_results[ch];

          last_powerFactor[ch] = powerFactor_now[ch];
          calcPower(ch);
          powerFactor_now[ch] = powerFactor;
          pfHunt(ch);

          if (chn->Iclipped) { chn_result->Clipped = true; chn->Iclipped = false; }

          if (ch == 0) { // estimate mains_frequency on a single channel, no need for more.
            mains_frequency = 1.0/(((chn->samplecount * CTn) / chn->cycles) * adc_conversion_time);
          }

          chn_result->Vrms += Vrms;
          chn_result->Irms += Irms;
          chn_result->ApparentPower += apparentPower;
          chn_result->RealPower += realPower;
          chn_result->PowerFactor += powerFactor;
          chn_result->Mains_AC_Cycles += chn->cycles;
          chn_result->SampleCount += chn->samplecount;
          chn_result->Count++;
        }
    }

    // -----------------
    // POSTING SECTION
    // -----------------
    current_millis = HAL_GetTick();
    if (current_millis - previous_millis_course >= posting_interval) { // now to take the channel results, average them and post them.
        uint16_t correction = current_millis - previous_millis_course - posting_interval;
        previous_millis_course = current_millis - correction;

        if(ledBlink) { HAL_GPIO_WritePin(LED2_GPIO_Port, LED2_Pin, GPIO_PIN_SET); } // blink the led

        if (no_volts_flag) {
          while (!usart_tx_ready); // force wait while usart Tx finishes.
          sprintf(log_buffer, "No voltage waveform present.\r\n"); // initital write to buffer.
          debug_printf(log_buffer);
          no_volts_flag = false; // reset.
          goto SkipPost;
        }

        for (int ch = 0; ch < CTn; ch++) {
          channel_results_t *chn_result = &channel_results[ch];

          chn_result->Vrms /= chn_result->Count;
          chn_result->Irms /= chn_result->Count;
          chn_result->ApparentPower /= chn_result->Count;
          chn_result->RealPower /= chn_result->Count;
          chn_result->PowerFactor /= chn_result->Count;

          int _ch = ch + 1; // nicer looking channel numbers. First channel starts at 1 instead of 0.
          //if (_ch == 1) { // single channel debug output.
          if (rpi_connected) { sprintf(string_buffer, "V%d:%.2lf,I%d:%.3lf,AP%d:%.1lf,RP%d:%.1lf,PF%d:%.6lf,Joules%d:%.3lf,Clip%d:%d,cycles%d:%d,samples%d:%ld,", _ch, chn_result->Vrms, _ch, chn_result->Irms, _ch, chn_result->ApparentPower, _ch, chn_result->RealPower, _ch, chn_result->PowerFactor, _ch, Ws_accumulator[ch], _ch, chn_result->Clipped, _ch, chn_result->Mains_AC_Cycles, _ch, chn_result->SampleCount); }
          else { sprintf(string_buffer, "V%d:%.2lf,I%d:%.3lf,AP%d:%.1lf,RP%d:%.1lf,PF%d:%.6lf,Joules%d:%.3lf,Clip%d:%d,cycles%d:%d,samples%d:%ld,\r\n", _ch, chn_result->Vrms, _ch, chn_result->Irms, _ch, chn_result->ApparentPower, _ch, chn_result->RealPower, _ch, chn_result->PowerFactor, _ch, Ws_accumulator[ch], _ch, chn_result->Clipped, _ch, chn_result->Mains_AC_Cycles, _ch, chn_result->SampleCount); }
          strcat(log_buffer, string_buffer);
          //} // single channel debug output
          chn_result->Clipped = false;
        }

        // Main frequency estimate.
        sprintf(string_buffer, "Hz:%.2f,", mains_frequency);
        strcat(log_buffer, string_buffer);

        // Millis
        sprintf(string_buffer, "millis:%ld,", current_millis);
        strcat(log_buffer, string_buffer);

        // Pulsecounters
        sprintf(string_buffer, "PC1:%ld,", pulseCount1);
        strcat(log_buffer, string_buffer);
        sprintf(string_buffer, "PC2:%ld,", pulseCount2);
        strcat(log_buffer, string_buffer);

        // has the adc buffer overrun?
        sprintf(string_buffer, "buffOverrun:%d", adc_buffer_overflow);
        adc_buffer_overflow = 0; // reset
        strcat(log_buffer, string_buffer);

        // close the string and add some whitespace for clarity.
        if (!rpi_connected) { strcat(log_buffer, "}"); }
        strcat(log_buffer, "\r\n");
        debug_printf(log_buffer);

        // RFM69 send.
        if (radioSender) // sending data, test data only.
        {
          radioData.nodeId = nodeID;
          radioData.uptime = HAL_GetTick();
          if(ledBlink) { HAL_GPIO_WritePin(LED3_GPIO_Port, LED3_Pin, 1); HAL_TIM_Base_Start_IT(&htim16); }// LED blink
          RFM69_send(toAddress, (const void *)(&radioData), sizeof(radioData), requestACK);
          while (!usart_tx_ready); // force wait while usart Tx finishes.
          debug_printf("radio Tx\r\n");
          //RFM69_sendWithRetry(toAddress, (const void *)(&radioData), sizeof(radioData), 3,20);
        }

        SkipPost:
        // reset accumulators.
        for (int ch = 0; ch < CTn; ch++) {
                channel_results_t *chn_result = &channel_results[ch];
                memset((void*)chn_result, 0, sizeof(channel_results_t));
        }

        if(ledBlink) {HAL_GPIO_WritePin(LED2_GPIO_Port, LED2_Pin, GPIO_PIN_RESET); }

    } EndJump: // end main readings_ready function.
    // end main readings_ready functions.
    // end main readings_ready functions.
    // end main readings_ready functions.

    //-------------------------------
    // RFM69 Rx
    //-------------------------------
    // This needs checking, does a flag need generating from a DIO0 read = true?
    if(radioReceiver) {
      if (RFM69_ReadDIO0Pin()) {
        debug_printf("RFM69 DIO0 high.\r\n");
        //RFM69_interruptHandler();
        if (RFM69_receiveDone()) { // this maybe shouldn't be nested in the previous if(). If Rx doesn't work, could be the problem.
          HAL_GPIO_WritePin(GPIOD, GPIO_PIN_8, 1); // LED blink
          HAL_TIM_Base_Start_IT(&htim16); // LED blink, interrupt based.
          // debug output below.
          debug_printf("RFM69 payload received.\r\n");
          PrintRawBytes();
          //PrintStruct();
          //PrintByteByByte();
          //RFM69_interruptHandler();
          while (!usart_tx_ready); // force wait while usart Tx finishes.
          sprintf(log_buffer, "RSSI:%d\r\n", rssi);
          debug_printf(log_buffer);

          RFM69_receiveBegin();
          //RFM69_receiveDone(); // seems to be required.
        }
      }
    } // end radioReceiver

    /*  // below for testing radio Noise
    if (radioSender) // sending data, test data only.
      {
        HAL_GPIO_WritePin(GPIOD, GPIO_PIN_8, 1); // LED blink
        HAL_TIM_Base_Start_IT(&htim16); // LED blink, interrupt based.
        radioData.nodeId = nodeID;
        radioData.uptime = HAL_GetTick();
        if(ledBlink){HAL_GPIO_WritePin(GPIOD, GPIO_PIN_8, 1); HAL_TIM_Base_Start_IT(&htim16); }// LED blink
        RFM69_send(toAddress, (const void *)(&radioData), sizeof(radioData), requestACK);
        //RFM69_sendWithRetry(toAddress, (const void *)(&radioData), sizeof(radioData), 3,20);
      }
    */

    //------------------------
    // UART Rx check
    //------------------------
    if (usart1_rx_flag)
    {
      usart1_rx_flag = 0;
      memcpy(rx_string, rx_buff, sizeof(rx_buff));
      memset(rx_buff, 0, sizeof(rx_buff));
      huart1.hdmarx->Instance->CCR &= ~DMA_CCR_EN;
      huart1.hdmarx->Instance->CNDTR = sizeof(rx_buff);
      huart1.hdmarx->Instance->CCR |= DMA_CCR_EN; // reset dma counter
      //json_parser("{G:RTC}"); // calling this loads json_response[] with a response.
      json_parser(rx_string); // calling this loads json_response[] with a response.
      while (!usart_tx_ready); // force wait while usart Tx finishes.
      sprintf(log_buffer, "{STM32:%s}\r\n", json_response);
      debug_printf(log_buffer);
    }
    // if (usart2_rx_flag)
    // {
    //   //-----
    //     //phase_corrections[0] = 13; // slap a value in there to test with.
    //     //hunt_PF[0] = true; // test powerfactor hunting on CT1.
    //   //-----
    //   usart2_rx_flag = 0;
    //   memcpy(rx_string, rx_buff, sizeof(rx_buff));
    //   memset(rx_buff, 0, sizeof(rx_buff));
    //   huart2.hdmarx->Instance->CCR &= ~DMA_CCR_EN;
    //   huart2.hdmarx->Instance->CNDTR = sizeof(rx_buff);
    //   huart2.hdmarx->Instance->CCR |= DMA_CCR_EN; // reset dma counter
    //   json_parser(rx_string); // calling this loads json_response[] with a response.
    //   while (!usart_tx_ready); // force wait while usart Tx finishes.
    //   sprintf(log_buffer, "{STM32:%s}\r\n", json_response);
    //   debug_printf(log_buffer);
    // }

    //-------------------------------
    // Print char buffers to serial.
    //-------------------------------
    // if (log_buffer[0] != '\0') { // null terminated strings!
    //   rPi_printf(log_buffer);
    //    // set index of string to null to effectively delete the string.
    //   // https://stackoverflow.com/questions/632846/clearing-a-char-array-c
    // }
    // if (log_buffer[0] != '\0') {
    //   rPi_printf(log_buffer);
    //   log_buffer[0] = '\0';
    // }

  /* USER CODE END WHILE */

  /* USER CODE BEGIN 3 */
    if (debugFlag_pulse1) {
      debug_printf("Pulse Ch1 Detected.\r\n");
      debugFlag_pulse1 = false;
    }
    if (debugFlag_pulse2) {
      debug_printf("Pulse Ch2 Detected.\r\n");
      debugFlag_pulse2 = false;
    }
    if (debugFlag_Button1) {
      debug_printf("Button Pressed!\r\n");
      debugFlag_Button1 = false;
    }
  }
  /* USER CODE END 3 */

}

void SystemClock_Config(void)
{

  RCC_OscInitTypeDef RCC_OscInitStruct;
  RCC_ClkInitTypeDef RCC_ClkInitStruct;
  RCC_PeriphCLKInitTypeDef PeriphClkInit;

    /**Configure LSE Drive Capability
    */
  HAL_PWR_EnableBkUpAccess();

  __HAL_RCC_LSEDRIVE_CONFIG(RCC_LSEDRIVE_LOW);

    /**Initializes the CPU, AHB and APB busses clocks
    */
  RCC_OscInitStruct.OscillatorType = RCC_OSCILLATORTYPE_HSE|RCC_OSCILLATORTYPE_LSE;
  RCC_OscInitStruct.HSEState = RCC_HSE_ON;
  RCC_OscInitStruct.LSEState = RCC_LSE_ON;
  RCC_OscInitStruct.HSIState = RCC_HSI_ON;
  RCC_OscInitStruct.PLL.PLLState = RCC_PLL_ON;
  RCC_OscInitStruct.PLL.PLLSource = RCC_PLLSOURCE_HSE;
  RCC_OscInitStruct.PLL.PLLMUL = RCC_PLL_MUL9;
  RCC_OscInitStruct.PLL.PREDIV = RCC_PREDIV_DIV1;
  if (HAL_RCC_OscConfig(&RCC_OscInitStruct) != HAL_OK)
  {
    _Error_Handler(__FILE__, __LINE__);
  }

    /**Initializes the CPU, AHB and APB busses clocks
    */
  RCC_ClkInitStruct.ClockType = RCC_CLOCKTYPE_HCLK|RCC_CLOCKTYPE_SYSCLK
                              |RCC_CLOCKTYPE_PCLK1|RCC_CLOCKTYPE_PCLK2;
  RCC_ClkInitStruct.SYSCLKSource = RCC_SYSCLKSOURCE_PLLCLK;
  RCC_ClkInitStruct.AHBCLKDivider = RCC_SYSCLK_DIV1;
  RCC_ClkInitStruct.APB1CLKDivider = RCC_HCLK_DIV2;
  RCC_ClkInitStruct.APB2CLKDivider = RCC_HCLK_DIV1;

  if (HAL_RCC_ClockConfig(&RCC_ClkInitStruct, FLASH_LATENCY_2) != HAL_OK)
  {
    _Error_Handler(__FILE__, __LINE__);
  }

  PeriphClkInit.PeriphClockSelection = RCC_PERIPHCLK_USB|RCC_PERIPHCLK_USART1
                              |RCC_PERIPHCLK_USART3|RCC_PERIPHCLK_UART4
                              |RCC_PERIPHCLK_UART5|RCC_PERIPHCLK_I2C3
                              |RCC_PERIPHCLK_RTC|RCC_PERIPHCLK_TIM16
                              |RCC_PERIPHCLK_TIM8;
  PeriphClkInit.Usart1ClockSelection = RCC_USART1CLKSOURCE_SYSCLK;
  PeriphClkInit.Usart3ClockSelection = RCC_USART3CLKSOURCE_SYSCLK;
  PeriphClkInit.Uart4ClockSelection = RCC_UART4CLKSOURCE_SYSCLK;
  PeriphClkInit.Uart5ClockSelection = RCC_UART5CLKSOURCE_SYSCLK;
  PeriphClkInit.I2c3ClockSelection = RCC_I2C3CLKSOURCE_SYSCLK;
  PeriphClkInit.RTCClockSelection = RCC_RTCCLKSOURCE_LSE;
  PeriphClkInit.USBClockSelection = RCC_USBCLKSOURCE_PLL_DIV1_5;
  PeriphClkInit.Tim16ClockSelection = RCC_TIM16CLK_HCLK;
  PeriphClkInit.Tim8ClockSelection = RCC_TIM8CLK_HCLK;
  if (HAL_RCCEx_PeriphCLKConfig(&PeriphClkInit) != HAL_OK)
  {
    _Error_Handler(__FILE__, __LINE__);
  }

    /**Configure the Systick interrupt time
    */
  HAL_SYSTICK_Config(HAL_RCC_GetHCLKFreq()/1000);

    /**Configure the Systick
    */
  HAL_SYSTICK_CLKSourceConfig(SYSTICK_CLKSOURCE_HCLK);

  /* SysTick_IRQn interrupt configuration */
  HAL_NVIC_SetPriority(SysTick_IRQn, 0, 0);
}

/* USER CODE BEGIN 4 */
void HAL_GPIO_EXTI_Callback (uint16_t GPIO_Pin) {
  if (GPIO_Pin == PULSE1_Pin) {
    debugFlag_pulse1 = true;
    pulseCount1++;
  }
  if (GPIO_Pin == PULSE2_Pin) {
    debugFlag_pulse2 = true;
    pulseCount2++;
  }
  if (GPIO_Pin == BUTTON1_Pin) {
    debugFlag_Button1 = true;
  }
}

void HAL_UART_TxCpltCallback(UART_HandleTypeDef *huart) {
  if (huart == &huart1) {
    // HAL_UART_Transmit(&huart2, "test\r\n", 7, 1000);
    usart_tx_ready = true;
  }
}

/* USER CODE END 4 */

void _Error_Handler(char *file, int line)
{
  /* USER CODE BEGIN Error_Handler_Debug */
  /* User can add his own implementation to report the HAL error return state */
  while (1)
  {
    while (!usart_tx_ready); // force wait while usart Tx finishes.
    sprintf(log_buffer, "sys_error:%s,line:%d\r\n", file, line);
    debug_printf(log_buffer);
  }
  /* USER CODE END Error_Handler_Debug */
}

/************************ (C) COPYRIGHT STMicroelectronics *****END OF FILE****/
